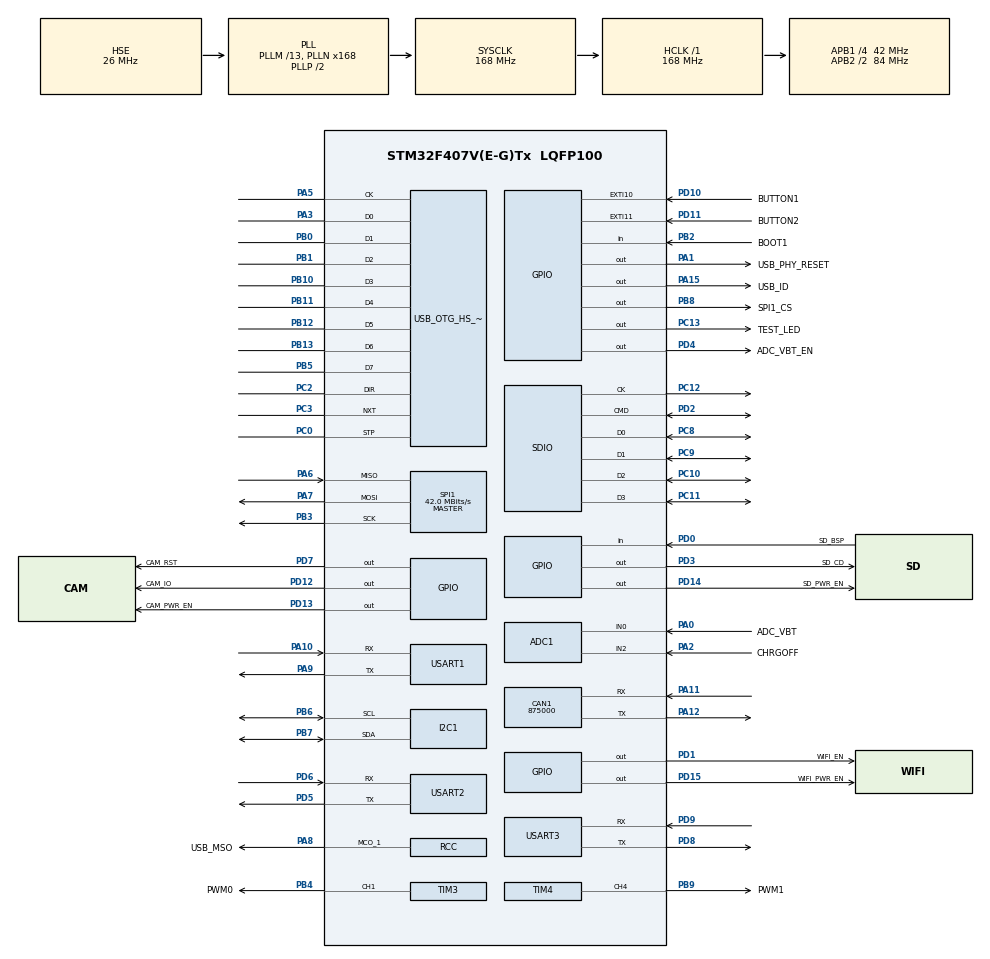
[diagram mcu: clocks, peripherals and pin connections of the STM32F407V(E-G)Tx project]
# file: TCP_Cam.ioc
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ADC1.Channel-3\#ChannelRegularConversion=ADC_CHANNEL_0
ADC1.NbrOfConversionFlag=1
ADC1.Rank-3\#ChannelRegularConversion=1
ADC1.SamplingTime-3\#ChannelRegularConversion=ADC_SAMPLETIME_3CYCLES
ADC1.master=1
CAN1.BS1=CAN_BS1_1TQ
CAN1.BS2=CAN_BS2_1TQ
CAN1.CalculateBaudRate=875000
CAN1.CalculateTimeBit=1142
CAN1.CalculateTimeQuantum=380.95238095238096
Dma.Request0=USART2_TX
Dma.Request1=USART2_RX
Dma.Request2=SPI1_RX
Dma.Request3=SPI1_TX
Dma.Request4=SDIO_RX
Dma.Request5=SDIO_TX
Dma.SDIO_RX.4.Direction=DMA_PERIPH_TO_MEMORY
Dma.SDIO_RX.4.FIFOMode=DMA_FIFOMODE_ENABLE
Dma.SDIO_RX.4.FIFOThreshold=DMA_FIFO_THRESHOLD_FULL
Dma.SDIO_RX.4.Instance=DMA2_Stream3
Dma.SDIO_RX.4.MemBurst=DMA_MBURST_SINGLE
Dma.SDIO_RX.4.MemDataAlignment=DMA_MDATAALIGN_BYTE
Dma.SDIO_RX.4.MemInc=DMA_MINC_ENABLE
Dma.SDIO_RX.4.Mode=DMA_PFCTRL
Dma.SDIO_RX.4.PeriphBurst=DMA_PBURST_INC4
Dma.SDIO_RX.4.PeriphDataAlignment=DMA_PDATAALIGN_WORD
Dma.SDIO_RX.4.PeriphInc=DMA_PINC_DISABLE
Dma.SDIO_RX.4.Priority=DMA_PRIORITY_VERY_HIGH
Dma.SDIO_TX.5.Direction=DMA_MEMORY_TO_PERIPH
Dma.SDIO_TX.5.FIFOMode=DMA_FIFOMODE_ENABLE
Dma.SDIO_TX.5.FIFOThreshold=DMA_FIFO_THRESHOLD_FULL
Dma.SDIO_TX.5.Instance=DMA2_Stream6
Dma.SDIO_TX.5.MemBurst=DMA_MBURST_SINGLE
Dma.SDIO_TX.5.MemDataAlignment=DMA_MDATAALIGN_BYTE
Dma.SDIO_TX.5.MemInc=DMA_MINC_ENABLE
Dma.SDIO_TX.5.Mode=DMA_PFCTRL
Dma.SDIO_TX.5.PeriphBurst=DMA_PBURST_INC4
Dma.SDIO_TX.5.PeriphDataAlignment=DMA_PDATAALIGN_WORD
Dma.SDIO_TX.5.PeriphInc=DMA_PINC_DISABLE
Dma.SDIO_TX.5.Priority=DMA_PRIORITY_VERY_HIGH
Dma.SPI1_RX.2.Direction=DMA_PERIPH_TO_MEMORY
Dma.SPI1_RX.2.FIFOMode=DMA_FIFOMODE_DISABLE
Dma.SPI1_RX.2.Instance=DMA2_Stream0
Dma.SPI1_RX.2.MemDataAlignment=DMA_MDATAALIGN_BYTE
Dma.SPI1_RX.2.MemInc=DMA_MINC_ENABLE
Dma.SPI1_RX.2.Mode=DMA_NORMAL
Dma.SPI1_RX.2.PeriphDataAlignment=DMA_PDATAALIGN_BYTE
Dma.SPI1_RX.2.PeriphInc=DMA_PINC_DISABLE
Dma.SPI1_RX.2.Priority=DMA_PRIORITY_HIGH
Dma.SPI1_TX.3.Direction=DMA_MEMORY_TO_PERIPH
Dma.SPI1_TX.3.FIFOMode=DMA_FIFOMODE_DISABLE
Dma.SPI1_TX.3.Instance=DMA2_Stream5
Dma.SPI1_TX.3.MemDataAlignment=DMA_MDATAALIGN_BYTE
Dma.SPI1_TX.3.MemInc=DMA_MINC_ENABLE
Dma.SPI1_TX.3.Mode=DMA_NORMAL
Dma.SPI1_TX.3.PeriphDataAlignment=DMA_PDATAALIGN_BYTE
Dma.SPI1_TX.3.PeriphInc=DMA_PINC_DISABLE
Dma.SPI1_TX.3.Priority=DMA_PRIORITY_HIGH
Dma.USART2_RX.1.Direction=DMA_PERIPH_TO_MEMORY
Dma.USART2_RX.1.FIFOMode=DMA_FIFOMODE_DISABLE
Dma.USART2_RX.1.Instance=DMA1_Stream5
Dma.USART2_RX.1.MemDataAlignment=DMA_MDATAALIGN_BYTE
Dma.USART2_RX.1.MemInc=DMA_MINC_ENABLE
Dma.USART2_RX.1.Mode=DMA_NORMAL
Dma.USART2_RX.1.PeriphDataAlignment=DMA_PDATAALIGN_BYTE
Dma.USART2_RX.1.PeriphInc=DMA_PINC_DISABLE
Dma.USART2_RX.1.Priority=DMA_PRIORITY_MEDIUM
Dma.USART2_TX.0.Direction=DMA_MEMORY_TO_PERIPH
Dma.USART2_TX.0.FIFOMode=DMA_FIFOMODE_DISABLE
Dma.USART2_TX.0.Instance=DMA1_Stream6
Dma.USART2_TX.0.MemDataAlignment=DMA_MDATAALIGN_BYTE
Dma.USART2_TX.0.MemInc=DMA_MINC_ENABLE
Dma.USART2_TX.0.Mode=DMA_NORMAL
Dma.USART2_TX.0.PeriphDataAlignment=DMA_PDATAALIGN_BYTE
Dma.USART2_TX.0.PeriphInc=DMA_PINC_DISABLE
Dma.USART2_TX.0.Priority=DMA_PRIORITY_MEDIUM
FATFS.BSP.number=1
FATFS._CODE_PAGE=936
FATFS._FS_EXFAT=1
FATFS._MAX_SS=512
FATFS._USE_LFN=3
FATFS0.BSP.STBoard=false
FATFS0.BSP.api=Unknown
FATFS0.BSP.instance=PD0
FATFS0.BSP.ip=GPIO
FATFS0.BSP.mode=Input
FATFS0.BSP.name=Detect_SDIO
FATFS0.BSP.solution=PD0
FREERTOS.BinarySemaphores01=atAck_semaphores,Dynamic,NULL,Available;adcSwitch_semaphores,Dynamic,NULL,Depleted
FREERTOS.INCLUDE_pcTaskGetTaskName=1
FREERTOS.INCLUDE_uxTaskGetStackHighWaterMark2=1
FREERTOS.INCLUDE_xEventGroupSetBitFromISR=1
FREERTOS.INCLUDE_xSemaphoreGetMutexHolder=1
FREERTOS.INCLUDE_xTaskGetHandle=1
FREERTOS.Tasks01=initTask,47,128,InitTask,Default,NULL,Dynamic,NULL,NULL;sdTask,9,512,SDcardTask,Default,NULL,Dynamic,NULL,NULL;liveTask,8,512,LiveTask,Default,NULL,Dynamic,NULL,NULL;adcTask,40,128,AdcTask,Default,NULL,Dynamic,NULL,NULL;camTask,30,1024,CamTask,Default,NULL,Dynamic,NULL,NULL
FREERTOS.configCHECK_FOR_STACK_OVERFLOW=2
FREERTOS.configTOTAL_HEAP_SIZE=65535
FREERTOS.configUSE_STATS_FORMATTING_FUNCTIONS=1
I2C1.I2C_Mode=I2C_Standard
IWDG.Prescaler=IWDG_PRESCALER_64
IWDG.Reload=2499
Mcu.Family=STM32F4
Mcu.Name=STM32F407V(E-G)Tx
Mcu.Package=LQFP100
NVIC.DMA1_Stream5_IRQn=true\:5\:0\:false\:false\:true\:true\:false\:true\:true
NVIC.DMA1_Stream6_IRQn=true\:5\:0\:false\:false\:true\:true\:false\:true\:true
NVIC.DMA2_Stream0_IRQn=true\:5\:0\:false\:false\:true\:true\:false\:true\:true
NVIC.DMA2_Stream3_IRQn=true\:6\:0\:true\:false\:true\:true\:false\:true\:true
NVIC.DMA2_Stream5_IRQn=true\:5\:0\:false\:false\:true\:false\:false\:true\:true
NVIC.DMA2_Stream6_IRQn=true\:6\:0\:true\:false\:true\:true\:false\:true\:true
NVIC.EXTI15_10_IRQn=true\:5\:0\:false\:false\:true\:true\:true\:true\:true
NVIC.OTG_HS_IRQn=true\:7\:0\:true\:false\:true\:true\:true\:true\:true
NVIC.PriorityGroup=NVIC_PRIORITYGROUP_4
NVIC.RTC_WKUP_IRQn=true\:5\:0\:false\:false\:true\:true\:true\:true\:true
NVIC.SDIO_IRQn=true\:5\:0\:true\:false\:true\:true\:true\:true\:true
NVIC.SPI1_IRQn=true\:5\:0\:false\:false\:true\:true\:true\:true\:true
NVIC.TIM1_UP_TIM10_IRQn=true\:15\:0\:false\:false\:true\:false\:false\:true\:true
NVIC.TIM2_IRQn=true\:8\:0\:true\:false\:true\:true\:true\:true\:true
NVIC.TIM3_IRQn=true\:5\:0\:false\:false\:true\:true\:true\:true\:true
NVIC.TIM4_IRQn=true\:5\:0\:false\:false\:true\:true\:true\:true\:true
NVIC.TimeBase=TIM1_UP_TIM10_IRQn
NVIC.TimeBaseIP=TIM1
NVIC.USART2_IRQn=true\:5\:0\:true\:false\:true\:true\:true\:true\:true
PA0-WKUP.GPIO_Label=ADC_VBT
PA0-WKUP.Signal=ADCx_IN0
PA1.GPIO_Label=USB_PHY_RESET
PA1.GPIO_PuPd=GPIO_PULLUP
PA1.GPIO_Speed=GPIO_SPEED_FREQ_MEDIUM
PA1.PinState=GPIO_PIN_SET
PA1.Signal=GPIO_Output
PA10.Mode=Asynchronous
PA10.Signal=USART1_RX
PA11.Mode=CAN_Activate
PA11.Signal=CAN1_RX
PA12.Mode=CAN_Activate
PA12.Signal=CAN1_TX
PA13.Mode=Serial_Wire
PA13.Signal=SYS_JTMS-SWDIO
PA14.Mode=Serial_Wire
PA14.Signal=SYS_JTCK-SWCLK
PA15.GPIO_Label=USB_ID
PA15.GPIO_PuPd=GPIO_NOPULL
PA15.GPIO_Speed=GPIO_SPEED_FREQ_MEDIUM
PA15.Signal=GPIO_Output
PA2.GPIO_Label=CHRGOFF
PA2.Signal=ADCx_IN2
PA3.Mode=Device_HS
PA3.Signal=USB_OTG_HS_ULPI_D0
PA5.Mode=Device_HS
PA5.Signal=USB_OTG_HS_ULPI_CK
PA6.Mode=Full_Duplex_Master
PA6.Signal=SPI1_MISO
PA7.Mode=Full_Duplex_Master
PA7.Signal=SPI1_MOSI
PA8.GPIO_Label=USB_MSO
PA8.GPIO_Speed=GPIO_SPEED_FREQ_HIGH
PA8.Mode=Clock-out-1
PA8.Signal=RCC_MCO_1
PA9.Mode=Asynchronous
PA9.Signal=USART1_TX
PB0.Mode=Device_HS
PB0.Signal=USB_OTG_HS_ULPI_D1
PB1.Mode=Device_HS
PB1.Signal=USB_OTG_HS_ULPI_D2
PB10.Mode=Device_HS
PB10.Signal=USB_OTG_HS_ULPI_D3
PB11.Mode=Device_HS
PB11.Signal=USB_OTG_HS_ULPI_D4
PB12.Mode=Device_HS
PB12.Signal=USB_OTG_HS_ULPI_D5
PB13.Mode=Device_HS
PB13.Signal=USB_OTG_HS_ULPI_D6
PB2.GPIO_Label=BOOT1
PB2.GPIO_PuPd=GPIO_PULLDOWN
PB2.Signal=GPIO_Input
PB3.Mode=Full_Duplex_Master
PB3.Signal=SPI1_SCK
PB4.GPIO_Label=PWM0
PB4.GPIO_Speed=GPIO_SPEED_FREQ_MEDIUM
PB4.Signal=S_TIM3_CH1
PB5.Mode=Device_HS
PB5.Signal=USB_OTG_HS_ULPI_D7
PB6.Mode=I2C
PB6.Signal=I2C1_SCL
PB7.Mode=I2C
PB7.Signal=I2C1_SDA
PB8.GPIO_Label=SPI1_CS
PB8.GPIO_PuPd=GPIO_PULLUP
PB8.GPIO_Speed=GPIO_SPEED_FREQ_MEDIUM
PB8.PinState=GPIO_PIN_SET
PB8.Signal=GPIO_Output
PB9.GPIO_Label=PWM1
PB9.GPIO_Speed=GPIO_SPEED_FREQ_MEDIUM
PB9.Signal=S_TIM4_CH4
PC0.Mode=Device_HS
PC0.Signal=USB_OTG_HS_ULPI_STP
PC10.GPIO_PuPd=GPIO_PULLUP
PC10.GPIO_Speed_High_Default=GPIO_SPEED_FREQ_MEDIUM
PC10.Mode=SD_4_bits_Wide_bus
PC10.Signal=SDIO_D2
PC11.GPIO_PuPd=GPIO_PULLUP
PC11.GPIO_Speed_High_Default=GPIO_SPEED_FREQ_MEDIUM
PC11.Mode=SD_4_bits_Wide_bus
PC11.Signal=SDIO_D3
PC12.GPIO_PuPd=GPIO_PULLUP
PC12.GPIO_Speed_High_Default=GPIO_SPEED_FREQ_MEDIUM
PC12.Mode=SD_4_bits_Wide_bus
PC12.Signal=SDIO_CK
PC13-ANTI_TAMP.GPIO_Label=TEST_LED
PC13-ANTI_TAMP.GPIO_PuPd=GPIO_PULLDOWN
PC13-ANTI_TAMP.GPIO_Speed=GPIO_SPEED_FREQ_LOW
PC13-ANTI_TAMP.Signal=GPIO_Output
PC14-OSC32_IN.Mode=LSE-External-Oscillator
PC14-OSC32_IN.Signal=RCC_OSC32_IN
PC15-OSC32_OUT.Mode=LSE-External-Oscillator
PC15-OSC32_OUT.Signal=RCC_OSC32_OUT
PC2.Mode=Device_HS
PC2.Signal=USB_OTG_HS_ULPI_DIR
PC3.Mode=Device_HS
PC3.Signal=USB_OTG_HS_ULPI_NXT
PC8.GPIO_PuPd=GPIO_PULLUP
PC8.GPIO_Speed_High_Default=GPIO_SPEED_FREQ_MEDIUM
PC8.Mode=SD_4_bits_Wide_bus
PC8.Signal=SDIO_D0
PC9.GPIO_PuPd=GPIO_PULLUP
PC9.GPIO_Speed_High_Default=GPIO_SPEED_FREQ_MEDIUM
PC9.Mode=SD_4_bits_Wide_bus
PC9.Signal=SDIO_D1
PD0.GPIO_Label=SD_BSP
PD0.GPIO_PuPd=GPIO_PULLDOWN
PD0.Signal=GPIO_Input
PD1.GPIO_Label=WIFI_EN
PD1.GPIO_PuPd=GPIO_PULLUP
PD1.GPIO_Speed=GPIO_SPEED_FREQ_MEDIUM
PD1.PinState=GPIO_PIN_SET
PD1.Signal=GPIO_Output
PD10.GPIO_Label=BUTTON1
PD10.GPIO_ModeDefaultEXTI=GPIO_MODE_IT_FALLING
PD10.GPIO_PuPd=GPIO_PULLUP
PD10.Signal=GPXTI10
PD11.GPIO_Label=BUTTON2
PD11.GPIO_ModeDefaultEXTI=GPIO_MODE_IT_FALLING
PD11.GPIO_PuPd=GPIO_PULLUP
PD11.Signal=GPXTI11
PD12.GPIO_Label=CAM_IO
PD12.GPIO_Speed=GPIO_SPEED_FREQ_MEDIUM
PD12.Signal=GPIO_Output
PD13.GPIO_Label=CAM_PWR_EN
PD13.GPIO_PuPd=GPIO_PULLDOWN
PD13.GPIO_Speed=GPIO_SPEED_FREQ_MEDIUM
PD13.Signal=GPIO_Output
PD14.GPIO_Label=SD_PWR_EN
PD14.GPIO_PuPd=GPIO_PULLDOWN
PD14.GPIO_Speed=GPIO_SPEED_FREQ_MEDIUM
PD14.Signal=GPIO_Output
PD15.GPIO_Label=WIFI_PWR_EN
PD15.GPIO_PuPd=GPIO_PULLDOWN
PD15.GPIO_Speed=GPIO_SPEED_FREQ_MEDIUM
PD15.Signal=GPIO_Output
PD2.GPIO_PuPd=GPIO_PULLUP
PD2.GPIO_Speed_High_Default=GPIO_SPEED_FREQ_MEDIUM
PD2.Mode=SD_4_bits_Wide_bus
PD2.Signal=SDIO_CMD
PD3.GPIO_Label=SD_CD
PD3.GPIO_ModeDefaultOutputPP=GPIO_MODE_OUTPUT_PP
PD3.GPIO_PuPd=GPIO_PULLDOWN
PD3.Signal=GPIO_Output
PD4.GPIO_Label=ADC_VBT_EN
PD4.GPIO_PuPd=GPIO_PULLDOWN
PD4.GPIO_Speed=GPIO_SPEED_FREQ_MEDIUM
PD4.Signal=GPIO_Output
PD5.Mode=Asynchronous
PD5.Signal=USART2_TX
PD6.Mode=Asynchronous
PD6.Signal=USART2_RX
PD7.GPIO_Label=CAM_RST
PD7.GPIO_PuPd=GPIO_PULLUP
PD7.GPIO_Speed=GPIO_SPEED_FREQ_MEDIUM
PD7.PinState=GPIO_PIN_SET
PD7.Signal=GPIO_Output
PD8.Mode=Asynchronous
PD8.Signal=USART3_TX
PD9.Mode=Asynchronous
PD9.Signal=USART3_RX
PH0-OSC_IN.Mode=HSE-External-Oscillator
PH0-OSC_IN.Signal=RCC_OSC_IN
PH1-OSC_OUT.Mode=HSE-External-Oscillator
PH1-OSC_OUT.Signal=RCC_OSC_OUT
ProjectManager.HeapSize=0x2200
ProjectManager.StackSize=0x800
ProjectManager.TargetToolchain=MDK-ARM V5.32
RCC.48MHZClocksFreq_Value=48000000
RCC.AHBFreq_Value=168000000
RCC.APB1CLKDivider=RCC_HCLK_DIV4
RCC.APB1Freq_Value=42000000
RCC.APB1TimFreq_Value=84000000
RCC.APB2CLKDivider=RCC_HCLK_DIV2
RCC.APB2Freq_Value=84000000
RCC.APB2TimFreq_Value=168000000
RCC.CortexFreq_Value=168000000
RCC.HCLKFreq_Value=168000000
RCC.HSE_VALUE=26000000
RCC.HSI_VALUE=16000000
RCC.PLLM=13
RCC.PLLN=168
RCC.PLLQ=7
RCC.PLLSourceVirtual=RCC_PLLSOURCE_HSE
RCC.RCC_MCO1Source=RCC_MCO1SOURCE_HSE
RCC.RCC_MCODiv1=RCC_MCODIV_2
RCC.SYSCLKFreq_VALUE=168000000
RCC.SYSCLKSource=RCC_SYSCLKSOURCE_PLLCLK
RCC.VCOOutputFreq_Value=336000000
RTC.Date=8
RTC.Format=RTC_FORMAT_BIN
RTC.Hours=12
RTC.Minutes=30
RTC.Month=RTC_MONTH_APRIL
RTC.WakeUpClock=RTC_WAKEUPCLOCK_CK_SPRE_16BITS
RTC.WeekDay=RTC_WEEKDAY_TUESDAY
RTC.Year=25
SDIO.ClockDiv=0
SH.ADCx_IN0.0=ADC1_IN0,IN0
SH.ADCx_IN2.0=ADC1_IN2,IN2
SH.S_TIM3_CH1.0=TIM3_CH1,PWM Generation1 CH1
SH.S_TIM4_CH4.0=TIM4_CH4,PWM Generation4 CH4
SPI1.BaudRatePrescaler=SPI_BAUDRATEPRESCALER_2
SPI1.CalculateBaudRate=42.0 MBits/s
SPI1.DataSize=SPI_DATASIZE_8BIT
SPI1.Direction=SPI_DIRECTION_2LINES
SPI1.Mode=SPI_MODE_MASTER
SPI1.VirtualType=VM_MASTER
TIM2.Period=9999
TIM2.Prescaler=16799
TIM3.Channel-PWM\ Generation1\ CH1=TIM_CHANNEL_1
TIM4.Channel-PWM\ Generation4\ CH4=TIM_CHANNEL_4
USART1.VirtualMode=VM_ASYNC
USART2.VirtualMode=VM_ASYNC
USART3.VirtualMode=VM_ASYNC
USB_DEVICE.CLASS_NAME_HS=MSC
USB_DEVICE.MSC_MEDIA_PACKET-MSC_HS=32768
USB_DEVICE.VirtualMode-MSC_HS=Msc
USB_DEVICE.VirtualModeHS=Msc_HS
USB_OTG_HS.DeviceSpeed-Device_HS=PCD_SPEED_HIGH
USB_OTG_HS.VirtualMode-Device_HS=Device_HS
VP_FATFS_VS_SDIO.Mode=SDIO
VP_FREERTOS_VS_CMSIS_V2.Mode=CMSIS_V2
VP_IWDG_VS_IWDG.Mode=IWDG_Activate
VP_RTC_VS_RTC_Activate.Mode=RTC_Enabled
VP_RTC_VS_RTC_Calendar.Mode=RTC_Calendar
VP_RTC_VS_RTC_WakeUp_intern.Mode=WakeUp
VP_SYS_VS_tim1.Mode=TIM1
VP_TIM2_VS_ClockSourceINT.Mode=Internal
VP_TIM3_VS_ClockSourceINT.Mode=Internal
VP_TIM4_VS_ClockSourceINT.Mode=Internal
VP_USB_DEVICE_VS_USB_DEVICE_MSC_HS.Mode=MSC_HS
board=custom

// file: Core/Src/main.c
/* USER CODE BEGIN Header */
/**
  ******************************************************************************
  * @file           : main.c
  * @brief          : Main program body
  ******************************************************************************
  * @attention
  *
  * Copyright (c) 2025 STMicroelectronics.
  * All rights reserved.
  *
  * This software is licensed under terms that can be found in the LICENSE file
  * in the root directory of this software component.
  * If no LICENSE file comes with this software, it is provided AS-IS.
  *
  ******************************************************************************
  */
/* USER CODE END Header */
#include "main.h"
#include "cmsis_os.h"
#include "adc.h"
#include "can.h"
#include "dma.h"
#include "fatfs.h"
#include "i2c.h"
#include "iwdg.h"
#include "rtc.h"
#include "sdio.h"
#include "spi.h"
#include "tim.h"
#include "usart.h"
#include "usb_device.h"
#include "gpio.h"

/* USER CODE BEGIN Includes */
#ifdef CM_BACKTRACE
#include "cm_backtrace.h"
#endif
#include "cz_sysInfo.h"
/* USER CODE END Includes */

void SystemClock_Config(void);
void MX_FREERTOS_Init(void);

int main(void)
{

  /* MCU Configuration--------------------------------------------------------*/

  /* Reset of all peripherals, Initializes the Flash interface and the Systick. */
  HAL_Init();

  /* Configure the system clock */
  SystemClock_Config();

  /* Initialize all configured peripherals */
  MX_GPIO_Init();
  MX_DMA_Init();
  MX_IWDG_Init();
  MX_SDIO_SD_Init();
  MX_SPI1_Init();
  MX_USART1_UART_Init();
  MX_USART2_UART_Init();
  MX_USART3_UART_Init();
  MX_FATFS_Init();
  MX_CAN1_Init();
  MX_I2C1_Init();
  MX_ADC1_Init();
  MX_TIM3_Init();
  MX_TIM4_Init();
  MX_RTC_Init();
  MX_TIM2_Init();
  /* USER CODE BEGIN 2 */
  CZ_RAW("Hello TCP Camera!\r\n");
#ifdef CM_BACKTRACE
	cm_backtrace_init(APPNAME, HARDWARE_VERSION, SOFTWARE_VERSION);
#endif
	// SD_Driver.disk_initialize(0);

  /* USER CODE END 2 */

  /* Init scheduler */
  osKernelInitialize();  /* Call init function for freertos objects (in cmsis_os2.c) */
  MX_FREERTOS_Init();

  /* Start scheduler */
  osKernelStart();

  /* We should never get here as control is now taken by the scheduler */

  /* Infinite loop */
	while (1) {

	}
}

void SystemClock_Config(void)
{
  RCC_OscInitTypeDef RCC_OscInitStruct = {0};
  RCC_ClkInitTypeDef RCC_ClkInitStruct = {0};

  /** Configure the main internal regulator output voltage
  */
  __HAL_RCC_PWR_CLK_ENABLE();
  __HAL_PWR_VOLTAGESCALING_CONFIG(PWR_REGULATOR_VOLTAGE_SCALE1);

  /** Initializes the RCC Oscillators according to the specified parameters
  * in the RCC_OscInitTypeDef structure.
  */
  RCC_OscInitStruct.OscillatorType = RCC_OSCILLATORTYPE_LSI|RCC_OSCILLATORTYPE_HSE;
  RCC_OscInitStruct.HSEState = RCC_HSE_ON;
  RCC_OscInitStruct.LSIState = RCC_LSI_ON;
  RCC_OscInitStruct.PLL.PLLState = RCC_PLL_ON;
  RCC_OscInitStruct.PLL.PLLSource = RCC_PLLSOURCE_HSE;
  RCC_OscInitStruct.PLL.PLLM = 13;
  RCC_OscInitStruct.PLL.PLLN = 168;
  RCC_OscInitStruct.PLL.PLLP = RCC_PLLP_DIV2;
  RCC_OscInitStruct.PLL.PLLQ = 7;
  if (HAL_RCC_OscConfig(&RCC_OscInitStruct) != HAL_OK)
  {
    Error_Handler();
  }

  /** Initializes the CPU, AHB and APB buses clocks
  */
  RCC_ClkInitStruct.ClockType = RCC_CLOCKTYPE_HCLK|RCC_CLOCKTYPE_SYSCLK
                              |RCC_CLOCKTYPE_PCLK1|RCC_CLOCKTYPE_PCLK2;
  RCC_ClkInitStruct.SYSCLKSource = RCC_SYSCLKSOURCE_PLLCLK;
  RCC_ClkInitStruct.AHBCLKDivider = RCC_SYSCLK_DIV1;
  RCC_ClkInitStruct.APB1CLKDivider = RCC_HCLK_DIV4;
  RCC_ClkInitStruct.APB2CLKDivider = RCC_HCLK_DIV2;

  if (HAL_RCC_ClockConfig(&RCC_ClkInitStruct, FLASH_LATENCY_5) != HAL_OK)
  {
    Error_Handler();
  }
  HAL_RCC_MCOConfig(RCC_MCO1, RCC_MCO1SOURCE_HSE, RCC_MCODIV_2);
}

void HAL_TIM_PeriodElapsedCallback(TIM_HandleTypeDef *htim)
{
  if (htim->Instance == TIM1)
  {
    HAL_IncTick();
  }
  /* USER CODE BEGIN Callback 1 */
	if (htim->Instance == TIM2) {
		SysInfo_t* sysInfo = get_sysInfo_t();
		vbat_get(sysInfo);
		// IWDG_Feed();
	}
  /* USER CODE END Callback 1 */
}

void Error_Handler(void)
{
	__disable_irq();
	while (1) {
	}
}

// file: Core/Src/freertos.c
/* USER CODE BEGIN Header */
/**
  ******************************************************************************
  * File Name          : freertos.c
  * Description        : Code for freertos applications
  ******************************************************************************
  * @attention
  *
  * Copyright (c) 2025 STMicroelectronics.
  * All rights reserved.
  *
  * This software is licensed under terms that can be found in the LICENSE file
  * in the root directory of this software component.
  * If no LICENSE file comes with this software, it is provided AS-IS.
  *
  ******************************************************************************
  */
/* USER CODE END Header */

#include "FreeRTOS.h"
#include "task.h"
#include "main.h"
#include "cmsis_os.h"

/* USER CODE BEGIN Includes */
#include "iwdg.h"
#include "gpio.h"
#include "tim.h"
#include "spi.h"
#include "iwdg.h"
#include "wifi_at.h"
#include "AT24C02.h"
#include "fatfs.h"
#include "sdio.h"
/* USER CODE END Includes */

/* USER CODE BEGIN PTD */
// 定义内存池对象
osMemoryPoolId_t memoryPoolId;
/* USER CODE END PTD */

/* USER CODE BEGIN Variables */
#define BLOCK_START_ADDR         0     /* Block start address      */
#define NUM_OF_BLOCKS            1   /* Total number of blocks   */
#define BUFFER_WORDS_SIZE        ((BLOCKSIZE * NUM_OF_BLOCKS) >> 2) /* Total data size in bytes */
uint8_t Buffer_Tx[512], Buffer_Rx[512] = { 0 };
uint32_t i;
/* USER CODE END Variables */
/* Definitions for initTask */
osThreadId_t initTaskHandle;
const osThreadAttr_t initTask_attributes = {
  .name = "initTask",
  .stack_size = 128 * 4,
  .priority = (osPriority_t) osPriorityHigh7,
};
/* Definitions for sdTask */
osThreadId_t sdTaskHandle;
const osThreadAttr_t sdTask_attributes = {
  .name = "sdTask",
  .stack_size = 512 * 4,
  .priority = (osPriority_t) osPriorityLow1,
};
/* Definitions for liveTask */
osThreadId_t liveTaskHandle;
const osThreadAttr_t liveTask_attributes = {
  .name = "liveTask",
  .stack_size = 512 * 4,
  .priority = (osPriority_t) osPriorityLow,
};
/* Definitions for adcTask */
osThreadId_t adcTaskHandle;
const osThreadAttr_t adcTask_attributes = {
  .name = "adcTask",
  .stack_size = 128 * 4,
  .priority = (osPriority_t) osPriorityHigh,
};
/* Definitions for camTask */
osThreadId_t camTaskHandle;
const osThreadAttr_t camTask_attributes = {
  .name = "camTask",
  .stack_size = 1024 * 4,
  .priority = (osPriority_t) osPriorityNormal6,
};
/* Definitions for atAck_semaphores */
osSemaphoreId_t atAck_semaphoresHandle;
const osSemaphoreAttr_t atAck_semaphores_attributes = {
  .name = "atAck_semaphores"
};
/* Definitions for adcSwitch_semaphores */
osSemaphoreId_t adcSwitch_semaphoresHandle;
const osSemaphoreAttr_t adcSwitch_semaphores_attributes = {
  .name = "adcSwitch_semaphores"
};

/* USER CODE BEGIN FunctionPrototypes */
/// @brief 打印任务信息
/// @param  void
void dump_task_info(void)
{
	char InfoBuffer[512] = { 0 };
	vPortEnterCritical();
	vTaskList((char*)&InfoBuffer);
	CZ_RAW("task          state  priority  stack   NO.\r\n");
	CZ_RAW("\r\n%s\r\n", InfoBuffer);
	vPortExitCritical();
}

osSemaphoreId_t get_atAck_semap(void)
{
	return atAck_semaphoresHandle;
}

osSemaphoreId_t get_adcSwitch_semap(void)
{
	return adcSwitch_semaphoresHandle;
}

osMemoryPoolId_t get_memoryPoolId_t(void)
{
	return memoryPoolId;
}

/// @brief 初始化内存池
/// @brief void
/// @param  void
void memoryPool_init(void)
{
	// 创建内存池
	memoryPoolId = osMemoryPoolNew(NUM_MEMORY_BLOCKS, MEMORY_BLOCK_SIZE, NULL);
	if (memoryPoolId == NULL) {
		CZ_ERR("Failed to create memory pool\n");
		NVIC_SystemReset();
	}
}
/* USER CODE END FunctionPrototypes */

void InitTask(void *argument);
void SDcardTask(void *argument);
void LiveTask(void *argument);
void AdcTask(void *argument);
void CamTask(void *argument);

extern void MX_USB_DEVICE_Init(void);
void MX_FREERTOS_Init(void); /* (MISRA C 2004 rule 8.1) */

/* Hook prototypes */
void vApplicationStackOverflowHook(xTaskHandle xTask, signed char *pcTaskName);

/* USER CODE BEGIN 4 */
void vApplicationStackOverflowHook(xTaskHandle xTask, signed char* pcTaskName)
{
	/* Run time stack overflow checking is performed if
	configCHECK_FOR_STACK_OVERFLOW is defined to 1 or 2. This hook function is
	called if a stack overflow is detected. */
	CZ_RAW("task : \"%s\" overflow\r\n", pcTaskName);
}
/* USER CODE END 4 */

void MX_FREERTOS_Init(void) {

  /* Create the semaphores(s) */
  /* creation of atAck_semaphores */
  atAck_semaphoresHandle = osSemaphoreNew(1, 1, &atAck_semaphores_attributes);

  /* creation of adcSwitch_semaphores */
  adcSwitch_semaphoresHandle = osSemaphoreNew(1, 0, &adcSwitch_semaphores_attributes);

  /* Create the thread(s) */
  /* creation of initTask */
  initTaskHandle = osThreadNew(InitTask, NULL, &initTask_attributes);

  /* creation of sdTask */
  sdTaskHandle = osThreadNew(SDcardTask, NULL, &sdTask_attributes);

  /* creation of liveTask */
  liveTaskHandle = osThreadNew(LiveTask, NULL, &liveTask_attributes);

  /* creation of adcTask */
  adcTaskHandle = osThreadNew(AdcTask, NULL, &adcTask_attributes);

  /* creation of camTask */
  camTaskHandle = osThreadNew(CamTask, NULL, &camTask_attributes);

}

void InitTask(void *argument)
{
  /* init code for USB_DEVICE */
  MX_USB_DEVICE_Init();
  /* USER CODE BEGIN InitTask */
		/* Infinite loop */
	for (;;) {
		delay_init();
		memoryPool_init();
		cz_log_set_level(LOG_LEVEL_DBG);
		SD_PWRON;
		SD_Driver.disk_initialize(0);
		CZ_WARN("Init End. Delete InitTask Self\r\n");
		vTaskDelete(NULL);
		osDelay(100);
	}
  /* USER CODE END InitTask */
}

void SDcardTask(void *argument)
{
  /* USER CODE BEGIN SDcardTask */
	// MX_USB_DEVICE_Init();
	IWDG_Feed();
	/* Infinite loop */
	for (;;) {
		CZ_LOG("SD Card Process in\r\n");
		// Fatfs_RW_test();
		// SDCardInfo();
		CZ_LOG("SD Card Process end\r\n");
		IWDG_Feed();
		osDelay(10000);
	}
  /* USER CODE END SDcardTask */
}

void LiveTask(void *argument)
{
  /* USER CODE BEGIN LiveTask */
	dump_task_info();
	WIFI_EN;
	WIFI_PWRON;
	CAM_EN;
	CAM_PWRON;
	unsigned char* wifi_ssid = "potato";
	unsigned char* wifi_pwd = "erbailailaixiguatudou20160327.";
	AT_t* AT = get_AT_t();
	AT->Basic.at_rst(Excution, 0); // 重启模块
	delay_ms(1000);
	IWDG_Feed();
	AT->Wifi.Basic.at_wMode(Set, STA_MODE, SAVE, 0); // 设置模块的 Wi-Fi 工作模式并保存到 Flash
	delay_ms(2000);
	IWDG_Feed();
	AT->Wifi.Basic.at_wJap(Set, wifi_ssid, wifi_pwd, NULL, 0); // 连接目标路由器
	delay_ms(3000);
	CZ_RAW("CD BSP %d\r\n", HAL_GPIO_ReadPin(SD_BSP_GPIO_Port, SD_BSP_Pin));
	// AT->Wifi.Basic.at_wAutoConn(Set, BW_ENABLE, wifi_ssid, wifi_pwd, NULL, 0);
	/* Infinite loop */
	// unsigned int i = 0;
	// Ret_Status_e ii;
	// Ret_Status_e iii;
	// unsigned char data[30] = {0};
	// unsigned char get_data[30] = {0};
	IWDG_Feed();
	/* Infinite loop */
	for (;;) {
		// i++;
		// sprintf((char *)data, "hello AT24C02 %d !\r\n", i);
		// ii = at24c02_write(0, data, sizeof(data));
		// osDelay(10);
		// iii = at24c02_read(0, get_data, sizeof(get_data));
		// CZ_RAW("%s [%d %d]\r\n", get_data, ii, iii);
		IWDG_Feed();
		LED_TOGGLE;
		osDelay(500);
	}
  /* USER CODE END LiveTask */
}

void AdcTask(void *argument)
{
  /* USER CODE BEGIN AdcTask */
	osSemaphoreId_t adcSwitch_Semap = get_adcSwitch_semap();
	/* Infinite loop */
	for (;;) {
		if (osOK == osSemaphoreAcquire(adcSwitch_Semap, 0))
			tim_vbat_adc_enable(CZ_ENABLE);
		osDelay(1);
	}
  /* USER CODE END AdcTask */
}

void CamTask(void *argument)
{
  /* USER CODE BEGIN CamTask */
	const unsigned char start_cmd = 0x11;
	const unsigned char stop_cmd = 0x22;
	unsigned char rx_start = 0;
	unsigned char rx_stop = 0;
	unsigned int cnt = 0;
  /* Infinite loop */
	for(;;)
	{
		if (cnt == 10) {
			CZ_LOG("start %d\r\n", spi_TxRx(&hspi1, &start_cmd, 1, &rx_start, 1, 1000));
			CZ_LOG("%02X\r\n", rx_start);
			if (rx_start == start_cmd) {
				CZ_LOG("start OK\r\n");
				rx_start = 0;
			} else {
				CZ_ERR("start Wrong\r\n");
			}
			rx_start = 0;
		} else if (cnt >= 20) {
			CZ_LOG("stop %d\r\n", spi_TxRx(&hspi1, &stop_cmd, 1, &rx_stop, 1, 1000));
			CZ_LOG("%02X\r\n", rx_stop);
			if (rx_stop == stop_cmd) {
				CZ_LOG("stop OK\r\n");
				rx_stop = 0;
			} else {
				CZ_ERR("stop Wrong\r\n");
			}
			rx_stop = 0;
			cnt = 0;
		}
		cnt++;
		osDelay(500);
	}
  /* USER CODE END CamTask */
}
